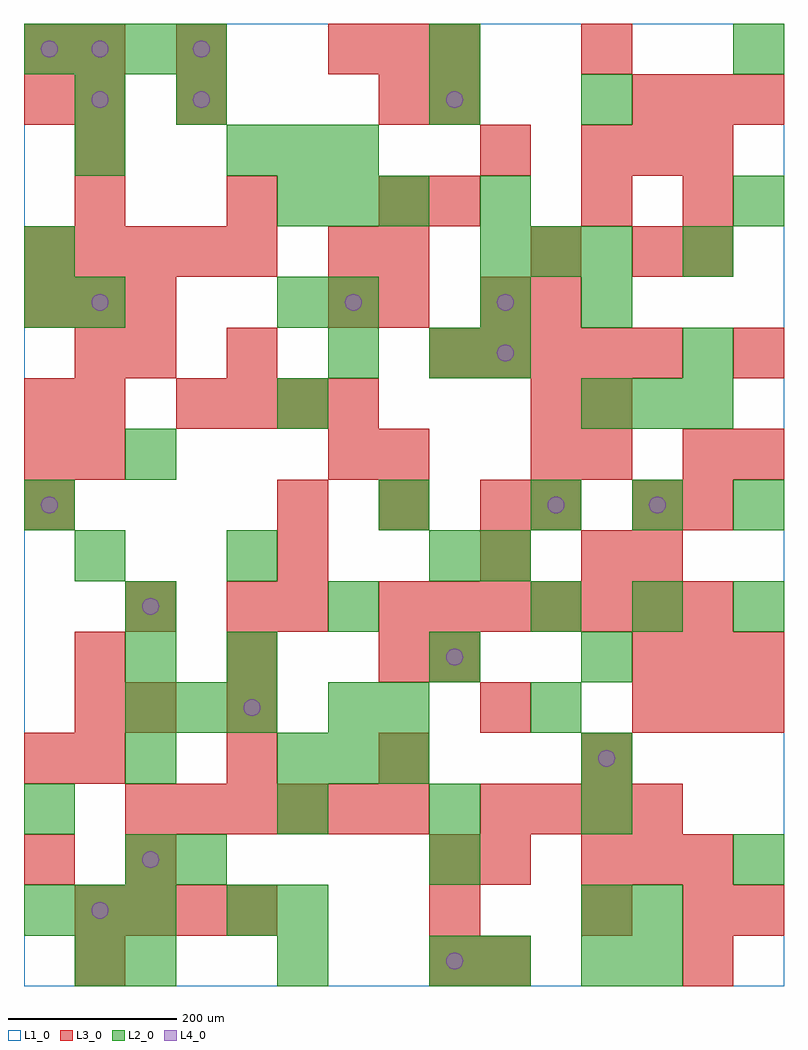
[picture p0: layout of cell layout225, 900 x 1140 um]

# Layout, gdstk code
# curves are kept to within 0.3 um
import gdstk
lib = gdstk.Library(unit=1e-6, precision=1e-09)
def R(c, l, rs):  # rectangles x0, y0, x1, y1
    for r in rs: c.add(gdstk.rectangle(r[:2], r[2:], *l))
def A(c, l, x, y, w, h, nx, ny, dx, dy):  # array of equal rectangles
    R(c, l, [(x+i*dx, y+j*dy, x+i*dx+w, y+j*dy+h) for i in range(nx) for j in range(ny)])
def P(c, l, *ps):  # polygons
    for p in ps: c.add(gdstk.Polygon(p, *l))
L1_0 = (1, 0)
L2_0 = (2, 0)
L3_0 = (3, 0)
L4_0 = (4, 0)

layout225 = lib.new_cell('layout225')
R(layout225, L1_0, [(0,0,900,1140)])
A(layout225, L2_0, 120, 0, 60, 60, 3, 1, 180, 0)
A(layout225, L2_0, 0, 60, 60, 60, 3, 1, 60, 0)
A(layout225, L2_0, 120, 120, 60, 60, 1, 3, 0, 120)
A(layout225, L2_0, 300, 180, 60, 60, 3, 1, 180, 0)
A(layout225, L2_0, 300, 240, 60, 60, 3, 2, 60, 660)
A(layout225, L2_0, 120, 300, 60, 60, 3, 1, 60, 0)
A(layout225, L2_0, 120, 420, 60, 60, 3, 1, 240, 0)
A(layout225, L2_0, 600, 540, 60, 60, 3, 1, 120, 0)
A(layout225, L2_0, 660, 660, 60, 60, 3, 1, 60, 0)
A(layout225, L2_0, 540, 840, 60, 60, 3, 1, 60, 0)
A(layout225, L2_0, 240, 960, 60, 60, 3, 1, 60, 0)
A(layout225, L2_0, 0, 1080, 60, 60, 4, 1, 60, 0)
R(layout225, L2_0, [(60,0,120,60), (540,0,600,60), (660,0,720,60), (720,0,780,60), (240,60,300,120), (300,60,360,120), (660,60,720,120), (720,60,780,120), (180,120,240,180), (480,120,540,180), (840,120,900,180), (0,180,60,240), (660,240,720,300), (360,300,420,360), (420,300,480,360), (600,300,660,360), (240,360,300,420), (480,360,540,420), (660,360,720,420), (720,420,780,480), (840,420,900,480), (60,480,120,540), (240,480,300,540), (480,480,540,540), (540,480,600,540), (0,540,60,600), (420,540,480,600), (120,600,180,660), (300,660,360,720), (360,720,420,780), (480,720,540,780), (540,720,600,780), (780,720,840,780), (0,780,60,840), (60,780,120,840), (300,780,360,840), (360,780,420,840), (540,780,600,840), (660,780,720,840), (0,840,60,900), (780,840,840,900), (540,900,600,960), (840,900,900,960), (60,960,120,1020), (60,1020,120,1080), (180,1020,240,1080), (480,1020,540,1080), (660,1020,720,1080), (480,1080,540,1140), (840,1080,900,1140)])
A(layout225, L3_0, 60, 0, 60, 60, 1, 3, 0, 300)
A(layout225, L3_0, 480, 0, 60, 60, 1, 3, 0, 60)
A(layout225, L3_0, 60, 60, 60, 60, 4, 1, 60, 0)
A(layout225, L3_0, 540, 120, 60, 60, 1, 3, 0, 180)
A(layout225, L3_0, 660, 120, 60, 60, 3, 2, 60, 840)
A(layout225, L3_0, 120, 180, 60, 60, 6, 1, 60, 0)
A(layout225, L3_0, 540, 180, 60, 60, 4, 1, 60, 0)
A(layout225, L3_0, 60, 240, 60, 60, 3, 2, 180, 120)
A(layout225, L3_0, 720, 300, 60, 60, 3, 2, 60, 60)
A(layout225, L3_0, 420, 420, 60, 60, 7, 1, 60, 0)
A(layout225, L3_0, 0, 540, 60, 60, 1, 3, 0, 60)
A(layout225, L3_0, 300, 540, 60, 60, 3, 1, 120, 0)
A(layout225, L3_0, 600, 540, 60, 60, 1, 3, 0, 60)
A(layout225, L3_0, 180, 660, 60, 60, 4, 1, 60, 0)
A(layout225, L3_0, 480, 720, 60, 60, 5, 1, 60, 0)
A(layout225, L3_0, 0, 780, 60, 60, 3, 1, 60, 0)
A(layout225, L3_0, 0, 840, 60, 60, 5, 1, 60, 0)
A(layout225, L3_0, 60, 900, 60, 60, 3, 1, 180, 0)
A(layout225, L3_0, 60, 960, 60, 60, 1, 3, 0, 60)
A(layout225, L3_0, 720, 1020, 60, 60, 3, 1, 60, 0)
A(layout225, L3_0, 360, 1080, 60, 60, 3, 1, 60, 0)
R(layout225, L3_0, [(540,0,600,60), (780,0,840,60), (660,60,720,120), (780,60,840,120), (840,60,900,120), (0,120,60,180), (120,120,180,180), (0,240,60,300), (660,240,720,300), (120,300,180,360), (240,300,300,360), (480,360,540,420), (120,420,180,480), (240,420,300,480), (300,420,360,480), (300,480,360,540), (660,480,720,540), (720,480,780,540), (720,540,780,600), (780,540,840,600), (360,600,420,660), (420,600,480,660), (660,600,720,660), (780,600,840,660), (840,600,900,660), (60,660,120,720), (660,660,720,720), (60,720,120,780), (120,720,180,780), (240,720,300,780), (840,720,900,780), (360,780,420,840), (420,780,480,840), (540,780,600,840), (600,780,660,840), (360,840,420,900), (420,840,480,900), (600,840,660,900), (720,840,780,900), (780,840,840,900), (480,900,540,960), (660,900,720,960), (780,900,840,960), (540,960,600,1020), (0,1020,60,1080), (180,1020,240,1080), (420,1020,480,1080), (480,1020,540,1080), (0,1080,60,1140), (180,1080,240,1140), (660,1080,720,1140)])
P(layout225, L4_0, [(40,570),(39.239,573.827),(37.071,577.071),(33.827,579.239),(30,580),(26.173,579.239),(22.929,577.071),(20.761,573.827),(20,570),(20.761,566.173),(22.929,562.929),(26.173,560.761),(30,560),(33.827,560.761),(37.071,562.929),(39.239,566.173)],
  [(40,1110),(39.239,1113.827),(37.071,1117.071),(33.827,1119.239),(30,1120),(26.173,1119.239),(22.929,1117.071),(20.761,1113.827),(20,1110),(20.761,1106.173),(22.929,1102.929),(26.173,1100.761),(30,1100),(33.827,1100.761),(37.071,1102.929),(39.239,1106.173)],
  [(100,90),(99.239,93.827),(97.071,97.071),(93.827,99.239),(90,100),(86.173,99.239),(82.929,97.071),(80.761,93.827),(80,90),(80.761,86.173),(82.929,82.929),(86.173,80.761),(90,80),(93.827,80.761),(97.071,82.929),(99.239,86.173)],
  [(100,810),(99.239,813.827),(97.071,817.071),(93.827,819.239),(90,820),(86.173,819.239),(82.929,817.071),(80.761,813.827),(80,810),(80.761,806.173),(82.929,802.929),(86.173,800.761),(90,800),(93.827,800.761),(97.071,802.929),(99.239,806.173)],
  [(100,1050),(99.239,1053.827),(97.071,1057.071),(93.827,1059.239),(90,1060),(86.173,1059.239),(82.929,1057.071),(80.761,1053.827),(80,1050),(80.761,1046.173),(82.929,1042.929),(86.173,1040.761),(90,1040),(93.827,1040.761),(97.071,1042.929),(99.239,1046.173)],
  [(100,1110),(99.239,1113.827),(97.071,1117.071),(93.827,1119.239),(90,1120),(86.173,1119.239),(82.929,1117.071),(80.761,1113.827),(80,1110),(80.761,1106.173),(82.929,1102.929),(86.173,1100.761),(90,1100),(93.827,1100.761),(97.071,1102.929),(99.239,1106.173)],
  [(160,150),(159.239,153.827),(157.071,157.071),(153.827,159.239),(150,160),(146.173,159.239),(142.929,157.071),(140.761,153.827),(140,150),(140.761,146.173),(142.929,142.929),(146.173,140.761),(150,140),(153.827,140.761),(157.071,142.929),(159.239,146.173)],
  [(160,450),(159.239,453.827),(157.071,457.071),(153.827,459.239),(150,460),(146.173,459.239),(142.929,457.071),(140.761,453.827),(140,450),(140.761,446.173),(142.929,442.929),(146.173,440.761),(150,440),(153.827,440.761),(157.071,442.929),(159.239,446.173)],
  [(220,1050),(219.239,1053.827),(217.071,1057.071),(213.827,1059.239),(210,1060),(206.173,1059.239),(202.929,1057.071),(200.761,1053.827),(200,1050),(200.761,1046.173),(202.929,1042.929),(206.173,1040.761),(210,1040),(213.827,1040.761),(217.071,1042.929),(219.239,1046.173)],
  [(220,1110),(219.239,1113.827),(217.071,1117.071),(213.827,1119.239),(210,1120),(206.173,1119.239),(202.929,1117.071),(200.761,1113.827),(200,1110),(200.761,1106.173),(202.929,1102.929),(206.173,1100.761),(210,1100),(213.827,1100.761),(217.071,1102.929),(219.239,1106.173)],
  [(280,330),(279.239,333.827),(277.071,337.071),(273.827,339.239),(270,340),(266.173,339.239),(262.929,337.071),(260.761,333.827),(260,330),(260.761,326.173),(262.929,322.929),(266.173,320.761),(270,320),(273.827,320.761),(277.071,322.929),(279.239,326.173)],
  [(400,810),(399.239,813.827),(397.071,817.071),(393.827,819.239),(390,820),(386.173,819.239),(382.929,817.071),(380.761,813.827),(380,810),(380.761,806.173),(382.929,802.929),(386.173,800.761),(390,800),(393.827,800.761),(397.071,802.929),(399.239,806.173)],
  [(520,30),(519.239,33.827),(517.071,37.071),(513.827,39.239),(510,40),(506.173,39.239),(502.929,37.071),(500.761,33.827),(500,30),(500.761,26.173),(502.929,22.929),(506.173,20.761),(510,20),(513.827,20.761),(517.071,22.929),(519.239,26.173)],
  [(520,390),(519.239,393.827),(517.071,397.071),(513.827,399.239),(510,400),(506.173,399.239),(502.929,397.071),(500.761,393.827),(500,390),(500.761,386.173),(502.929,382.929),(506.173,380.761),(510,380),(513.827,380.761),(517.071,382.929),(519.239,386.173)],
  [(520,1050),(519.239,1053.827),(517.071,1057.071),(513.827,1059.239),(510,1060),(506.173,1059.239),(502.929,1057.071),(500.761,1053.827),(500,1050),(500.761,1046.173),(502.929,1042.929),(506.173,1040.761),(510,1040),(513.827,1040.761),(517.071,1042.929),(519.239,1046.173)],
  [(580,750),(579.239,753.827),(577.071,757.071),(573.827,759.239),(570,760),(566.173,759.239),(562.929,757.071),(560.761,753.827),(560,750),(560.761,746.173),(562.929,742.929),(566.173,740.761),(570,740),(573.827,740.761),(577.071,742.929),(579.239,746.173)],
  [(580,810),(579.239,813.827),(577.071,817.071),(573.827,819.239),(570,820),(566.173,819.239),(562.929,817.071),(560.761,813.827),(560,810),(560.761,806.173),(562.929,802.929),(566.173,800.761),(570,800),(573.827,800.761),(577.071,802.929),(579.239,806.173)],
  [(640,570),(639.239,573.827),(637.071,577.071),(633.827,579.239),(630,580),(626.173,579.239),(622.929,577.071),(620.761,573.827),(620,570),(620.761,566.173),(622.929,562.929),(626.173,560.761),(630,560),(633.827,560.761),(637.071,562.929),(639.239,566.173)],
  [(700,270),(699.239,273.827),(697.071,277.071),(693.827,279.239),(690,280),(686.173,279.239),(682.929,277.071),(680.761,273.827),(680,270),(680.761,266.173),(682.929,262.929),(686.173,260.761),(690,260),(693.827,260.761),(697.071,262.929),(699.239,266.173)],
  [(760,570),(759.239,573.827),(757.071,577.071),(753.827,579.239),(750,580),(746.173,579.239),(742.929,577.071),(740.761,573.827),(740,570),(740.761,566.173),(742.929,562.929),(746.173,560.761),(750,560),(753.827,560.761),(757.071,562.929),(759.239,566.173)])

lib.write_gds('layout225.gds')
